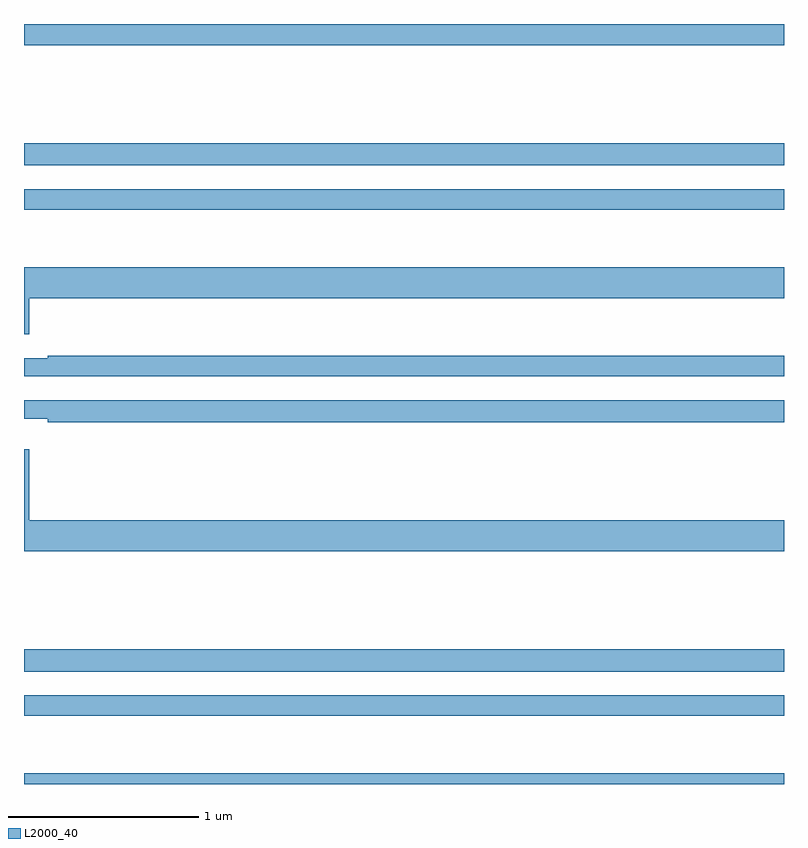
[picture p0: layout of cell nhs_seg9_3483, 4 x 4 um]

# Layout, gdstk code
import gdstk
lib = gdstk.Library(unit=1e-6, precision=1e-09)
def R(c, l, rs):  # rectangles x0, y0, x1, y1
    for r in rs: c.add(gdstk.rectangle(r[:2], r[2:], *l))
def P(c, l, *ps):  # polygons
    for p in ps: c.add(gdstk.Polygon(p, *l))
L2000_40 = (2000, 40)

nhs_seg9_3483 = lib.new_cell('nhs_seg9_3483')
R(nhs_seg9_3483, L2000_40, [(309,1224.5,313,1224.556), (309,1224.858,313,1224.966), (309,1225.092,313,1225.208), (309,1227.522,313,1227.63), (309,1227.756,313,1227.872), (309,1228.388,313,1228.5)])
P(nhs_seg9_3483, L2000_40, [(309.028,1227.056),(313,1227.056),(313,1227.22),(309,1227.22),(309,1226.868),(309.028,1226.868)],
  [(313,1226.755),(309.124,1226.755),(309.124,1226.742),(309,1226.742),(309,1226.646),(313,1226.646)],
  [(313,1226.52),(309,1226.52),(309,1226.423),(309.124,1226.423),(309.124,1226.404),(313,1226.404)],
  [(313,1225.888),(309.028,1225.888),(309.028,1226.263),(309,1226.263),(309,1225.724),(313,1225.724)])

lib.write_gds('nhs_seg9_3483.gds')
